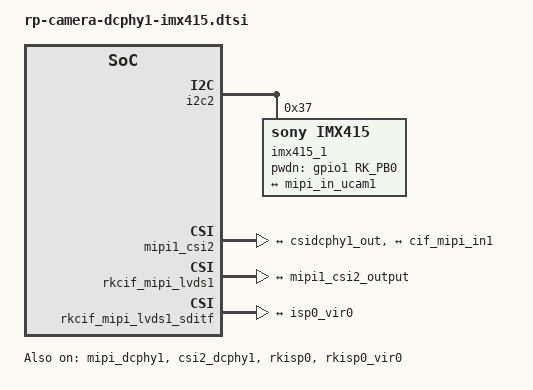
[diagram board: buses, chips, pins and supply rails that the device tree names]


&i2c2 {
	status = "okay";
	pinctrl-names = "default";
	pinctrl-0 = <&i2c2m4_xfer>;

  
	imx415_1: imx415_1@37 {
		compatible = "sony,imx415";
		status = "okay";
		reg = <0x37>;
		clocks = <&cru CLK_MIPI_CAMARAOUT_M2>;
		clock-names = "xvclk";
		power-domains = <&power RK3588_PD_VI>;
		pinctrl-names = "default";
		pinctrl-0 = <&mipim0_camera2_clk>;
		rockchip,grf = <&sys_grf>;
		pwdn-gpios = <&gpio1 RK_PB0 GPIO_ACTIVE_HIGH>;
		rockchip,camera-module-index = <1>;
		rockchip,camera-module-facing = "back";
		rockchip,camera-module-name = "CMK-OT2022-PX1";
		rockchip,camera-module-lens-name = "IR0147-50IRC-8M-F20";
		port {
			imx415_out1: endpoint {
				remote-endpoint = <&mipi_in_ucam1>;
				data-lanes = <1 2 3 4>;
			};
		};
	};
};


&mipi_dcphy1 {
	status = "okay";
};

&csi2_dcphy1 {
	status = "okay";

	ports {
		#address-cells = <1>;
		#size-cells = <0>;
    port@0 {
			reg = <0>;
			#address-cells = <1>;
			#size-cells = <0>;

			mipi_in_ucam1: endpoint@1 {
				reg = <1>;
				remote-endpoint = <&imx415_out1>;
        data-lanes = <1 2 3 4>;
			};
		};

		port@1 {
			reg = <1>;
			#address-cells = <1>;
			#size-cells = <0>;

			csidcphy1_out: endpoint@0 {
				reg = <0>;
				remote-endpoint = <&mipi1_csi2_input>;
			};
		};
	};
};

&mipi1_csi2 {
	status = "okay";

	ports {
		#address-cells = <1>;
		#size-cells = <0>;

		port@0 {
			reg = <0>;
			#address-cells = <1>;
			#size-cells = <0>;

			mipi1_csi2_input: endpoint@0 {
				reg = <0>;
				remote-endpoint = <&csidcphy1_out>;
			};
		};

		port@1 {
			reg = <1>;
			#address-cells = <1>;
			#size-cells = <0>;

			mipi1_csi2_output: endpoint@1 {
				reg = <1>;
				remote-endpoint = <&cif_mipi_in1>;
			};
		};
	};
};

&rkcif_mipi_lvds1 {
	status = "okay";

	port {
		cif_mipi_in1: endpoint {
			remote-endpoint = <&mipi1_csi2_output>;
		};
	};
};

&rkcif_mipi_lvds1_sditf {
	status = "okay";

	port {
		mipi_lvds1_sditf: endpoint {
			remote-endpoint = <&isp0_vir0>;
		};
	};
};

&rkisp0 {
	status = "okay";
};

&isp0_mmu {
	status = "okay";
};

&rkisp0_vir0 {
	status = "okay";
	port {
		#address-cells = <1>;
		#size-cells = <0>;

		isp0_vir0: endpoint@0 {
			reg = <0>;
			remote-endpoint = <&mipi_lvds1_sditf>;
		};
	};
};

